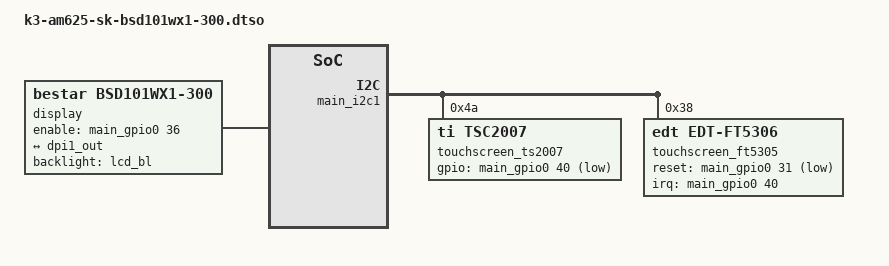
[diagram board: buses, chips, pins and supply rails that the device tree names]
// SPDX-License-Identifier: GPL-2.0
/*
 * AM625 SK: BESTAR - bsd101wx1-300 LVDS LCD panel
 *
 * Copyright (C) 2021-2022 Texas Instruments Incorporated - https://www.ti.com/
 */

/dts-v1/;
/plugin/;

#include <dt-bindings/gpio/gpio.h>
#include <dt-bindings/interrupt-controller/irq.h>
#include "k3-pinctrl.h"

&{/} {
	display {
		compatible = "bestar,bsd101wx1-300";
		backlight = <&lcd_bl>;
		enable-gpios = <&main_gpio0 36 GPIO_ACTIVE_HIGH>;

		port {
			lcd_in0: endpoint {
				remote-endpoint = <&dpi1_out>;
			};
		};
	};
};

&main_pmx0 {
	mango_ts_pins_default: mango_ts-pins-default {
		pinctrl-single,pins = <
			AM62X_IOPAD(0x00A4, PIN_INPUT, 7) /* (M22) GPMC0_DIR.GPIO0_40 */
			AM62X_IOPAD(0x007C, PIN_OUTPUT, 7) /* (P25) GPMC0_CLK.GPIO0_31 */
		>;
	};
};

&main_i2c1 {
		#address-cells = <1>;
		#size-cells = <0>;

    touchscreen_ts2007: tsc2007@4a {
            compatible = "ti,tsc2007";
            reg = <0x4a>;
#if 0
            pinctrl-names = "default";
            pinctrl-0 = <&mango_ts_pins_default>;
            interrupt-parent = <&main_gpio0>;
            interrupts = <40 IRQ_TYPE_EDGE_FALLING>;
#endif
            gpios = <&main_gpio0 40 GPIO_ACTIVE_LOW>;

            ti,x-plate-ohms = <660>;
            linux,wakeup;
    };

	touchscreen_ft5305: edt-ft5306@38 {
		status = "okay";
		compatible = "edt,edt-ft5306", "edt,edt-ft5x06";
		pinctrl-names = "default";
		pinctrl-0 = <&mango_ts_pins_default>;

		reg = <0x38>;
		interrupt-parent = <&main_gpio0>;
		interrupts = <40 IRQ_TYPE_EDGE_FALLING>;
		reset-gpios = <&main_gpio0 31 GPIO_ACTIVE_LOW>;

		touchscreen-size-x = <1280>;
		touchscreen-size-y = <800>;

		wakeup-source;
	};
};

&dss_ports {
    #address-cells = <1>;
    #size-cells = <0>;

	port@1 {
        reg = <1>;
		dpi1_out: endpoint {
			remote-endpoint = <&lcd_in0>;
		};
	};
};

